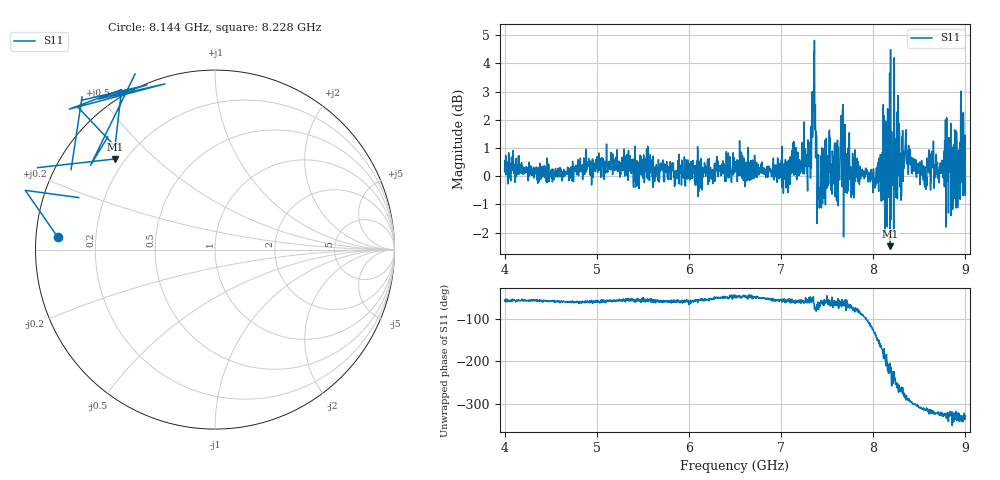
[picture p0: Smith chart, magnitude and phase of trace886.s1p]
! Created with skrf 1.8.0 (http://scikit-rf.org).
# Hz S RI R 50.0
!freq ReS11 ImS11
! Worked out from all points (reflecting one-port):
!   1601 points, 4 GHz to 9 GHz, reference 50 ohm
!   lowest |S11| = -2.5 dB at 8.184 GHz (marker M1), VSWR 7.05, Z = 8.13 + j18.9 ohm
!   phase of S11 starts at -57 deg and turns -272 deg over the sweep
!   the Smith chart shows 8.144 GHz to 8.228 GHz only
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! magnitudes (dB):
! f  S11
! 4 GHz  0.2
! 4.625 GHz  -0.2
! 5.25 GHz  0.0
! 5.875 GHz  0.1
! 6.5 GHz  0.3
! 7.125 GHz  0.1
! 7.294 GHz  1.0
! 7.347 GHz  2.8
! 7.362 GHz  4.8
! 7.412 GHz  -0.6
! 7.512 GHz  0.4
! 7.609 GHz  0.9
! 7.65 GHz  2.1
! 7.703 GHz  -0.5
! 7.75 GHz  0.1
! 8.006 GHz  0.2
! 8.081 GHz  -0.1
! 8.153 GHz  1.2
! 8.184 GHz  -2.5
! 8.216 GHz  1.0
! 8.253 GHz  0.7
! 8.312 GHz  1.4
! 8.375 GHz  0.6
! 8.556 GHz  -0.3
! 8.628 GHz  -0.2
! 8.869 GHz  0.1
! 8.972 GHz  0.8
! 9 GHz  -0.7
